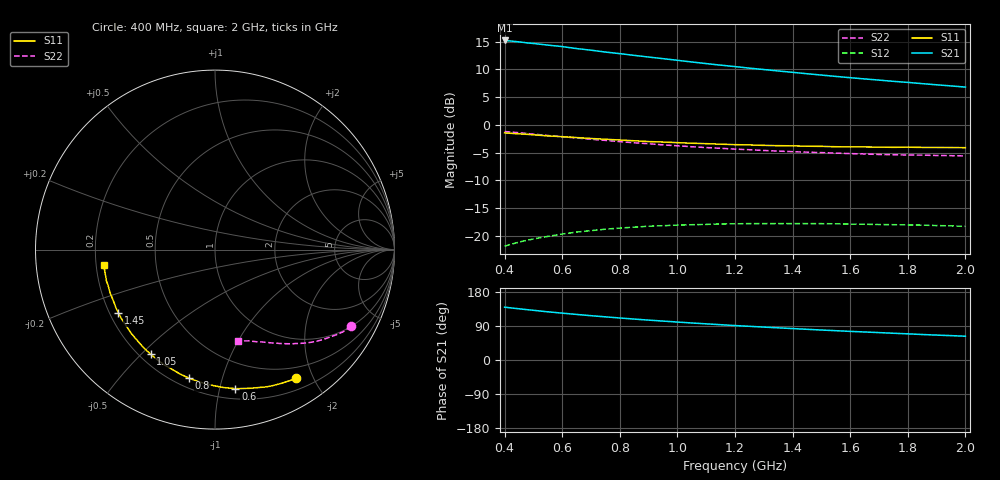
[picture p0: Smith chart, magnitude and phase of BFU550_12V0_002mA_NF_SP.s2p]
! Filename:  P:\Prog\Test\Noise\ATS_data\Testdata_Net\06 Compressed Noise after Statistics\BFU550_APG2013_43_D05_12p0V_002mA_NF_CM01_D.sf
! Date/Time: Fri 26/Apr/2013 13:07:24
! BFU550_APG2013_43_D05_12p0V_1to35mA_NF_CM01_Bias2_R.sf
! Noise Parameter Data File
! BFU550_APG2013_43_D05_12p0V_1to35mA_NF_CM01
! Date/time: Thu Apr 25 18:42:45 2013
! VAR V_out= 12.001000
! VAR I_out= 2.000000
! VAR V_in= 0.787300
! VAR I_in= 0.016995
! Device data file deembeded for feedlines and parallel
! Original file: \06 Compressed Noise after Statistics\BFU550_APG2013_43_D05_12p0V_002mA_NF_CM01_R.sf
! Feed-files: PR047V01_250413_Feed1.s2p, PR047V01_250413_Feed2.s2p
! Parallel-file: PR047V01_250413_Par.s2p
# MHz S MA R 50
!  Freq-MHz  S11-mag  S11-arg  S21-mag  S21-arg  S12-mag  S12-arg  S22-mag  S22-arg
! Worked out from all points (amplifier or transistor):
!   37 points, 400 MHz to 2 GHz, reference 50 ohm
!   highest |S21| = 15.2 dB at 400 MHz (marker M1)
!   |S21| within 3 dB of that: start of sweep to 902.1 MHz
!   unconditionally stable (mu >= 1): nowhere
!   at 500 MHz: K = 0.17, MSG = 17.6 dB, |S12| = -20.6 dB
!   at 1.1 GHz: K = 0.36, MSG = 14.5 dB, |S12| = -17.9 dB
!   at 2 GHz: K = 0.70, MSG = 12.6 dB, |S12| = -18.3 dB
!   lowest NFmin = 0.53 dB at 420 MHz
!   S11 on the Smith chart (normalised r, x): 400 MHz: 0.35, -1.76; 600 MHz: 0.28, -1.12; 800 MHz: 0.26, -0.79; 1.05 GHz: 0.24, -0.53; 1.45 GHz: 0.24, -0.28; 2 GHz: 0.23, -0.06
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400  0.8473 -57.8  5.772 139.3  0.08068 56.2  0.8718 -29.4
440  0.8338 -63.0  5.639 135.9  0.08635 53.5  0.8542 -31.8
480  0.8217 -67.8  5.48 132.7  0.09137 51.0  0.8354 -34.0
500  0.8139 -70.2  5.423 131.2  0.09377 49.8  0.8264 -35.0
550  0.796 -76.2  5.246 127.2  0.0988 46.8  0.8024 -37.6
600  0.7832 -81.7  5.083 123.7  0.1038 44.2  0.782 -39.9
650  0.769 -86.8  4.878 120.2  0.1081 41.6  0.7626 -42.0
700  0.7547 -92.0  4.718 116.9  0.1114 39.2  0.7423 -44.1
750  0.7426 -96.7  4.537 113.8  0.1148 37.1  0.7248 -45.9
800  0.731 -101.4  4.392 110.9  0.1174 35.1  0.7062 -47.7
850  0.7195 -105.8  4.233 108.0  0.1197 33.1  0.69 -49.3
900  0.7077 -110.0  4.092 105.3  0.1221 31.4  0.6766 -50.9
950  0.7009 -114.1  3.958 102.7  0.1234 29.7  0.6605 -52.6
1050  0.6835 -121.7  3.694 97.6  0.1259 26.6  0.6355 -55.4
1200  0.6638 -132.1  3.354 90.9  0.1282 22.7  0.6049 -59.2
1300  0.6537 -138.2  3.157 86.8  0.1289 20.5  0.588 -61.5
1450  0.6425 -146.8  2.893 81.0  0.129 17.8  0.5682 -64.7
1500  0.6405 -149.5  2.814 79.1  0.1287 16.9  0.5627 -65.8
1600  0.6329 -154.7  2.665 75.5  0.1276 15.4  0.5512 -67.9
1750  0.6279 -161.7  2.471 70.6  0.126 13.8  0.5387 -70.8
1850  0.6266 -166.2  2.355 67.3  0.1249 12.8  0.5339 -72.8
2000  0.6239 -172.3  2.193 62.8  0.1217 12.0  0.5249 -75.7
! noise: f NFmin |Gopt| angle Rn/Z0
400  0.565  0.4652  30.01  0.1966
460  0.576  0.4426  37.46  0.1805
600  0.6012  0.4694  46.28  0.1768
800  0.681  0.4574  62.61  0.1683
1000  0.7345  0.4633  78.03  0.1544
1200  0.7973  0.4672  91.03  0.1465
1400  0.7977  0.4739  104.5  0.1286
1600  0.8606  0.4699  118.6  0.1039
1800  0.6327  0.4725  135  0.0764
2000  1.162  0.4672  142.5  0.0871
